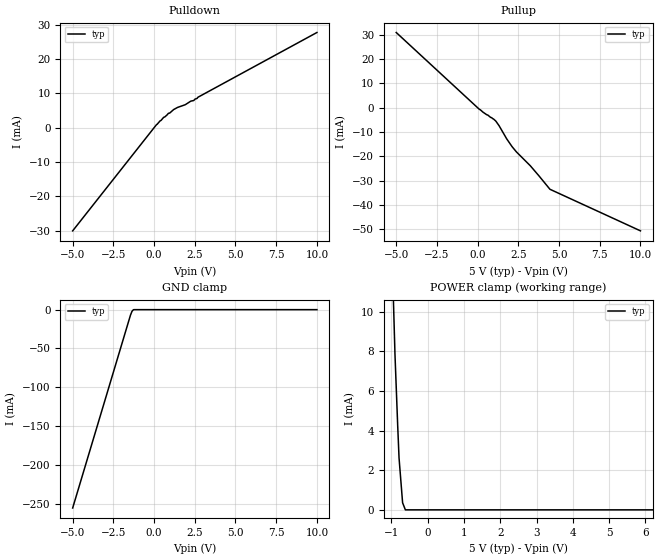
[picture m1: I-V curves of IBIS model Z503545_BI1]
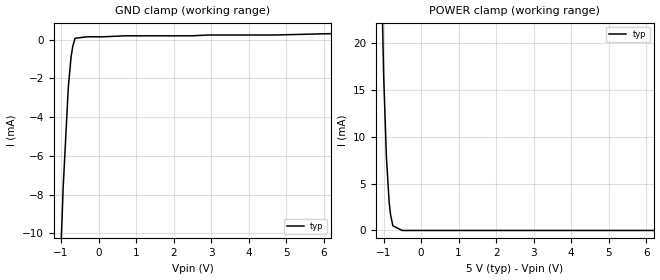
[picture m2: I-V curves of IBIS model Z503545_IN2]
| YOU ARE ONLY AUTHORIZED TO USE THIS SOFTWARE
| ACCORDING TO LICENSOR'S LICENSE RESTRICTIONS.
[IBIS Ver] 3.1
[File Name] mc14066bp.ibs
[File Rev] 2.0
[Source] Measured and created by ICX Technology
[Date] Friday 7/14/00 9:07:52 AM
[Copyright]
| (C) COPYRIGHT 1993-2000
| MENTOR GRAPHICS CORPORATION
| ICX STANDARD LIBRARY, ICX PROJECT MODELING,
| ICX CUSTOM MODELING, ICX VENDOR MODEL
| ALL RIGHTS RESERVED.
| THE FOLLOWING ARE TRADEMARKS OR SERVICE MARKS OF
| MENTOR GRAPHICS CORPORATION:ICX (R), ICX STANDARD
| LIBRARY(R), ICX PROJECT MODELING(R), ICX CUSTOM
| MODELING(R), qualityIBIS(TM), MODELVIEWER(TM),
| AND MODELEDITOR(TM)
| ALL COPIES OF SOFTWARE, INCLUDING BUT NOT LIMITED TO
| ANY MODIFICATIONS, ENHANCEMENTS OR DERIVATIVE WORKS,
| MUST CONTAIN ALL MENTOR GRAPHICS CORPORATION'S
| NOTICES AND LEGENDS, INCLUDING THOSE EMBEDDED IN
| SOFTWARE AND THOSE AFFIXED TO SOFTWARE MEDIUM
| AND CONTAINER, AS RECEIVED FROM MENTOR GRAPHICS
| CORPORATION.
|  ZAP Model Builder 2.7
[Component] MC14066BP
[Manufacturer] OnSemiconductor
[Package]
| variable   typ   min   max
R_pkg  .155ohms NA NA
L_pkg  3.028nH NA NA
C_pkg  .381pF NA NA
[Pin] signal_name  model_name  R_pin  L_pin C_pin
1 In1 Z503545_BI1 .16 3.587n .407p
2 Out1 Z503545_BI1 .156 3.147n .387p
3 Out2 Z503545_BI1 .152 2.717n .367p
4 In2 Z503545_BI1 .148 2.297n .347p
5 Control2 Z503545_IN2 .152 2.717n .367p
6 Control3 Z503545_IN2 .156 3.147n .387p
7 VSS POWER .16 3.587n .407p
8 In3 Z503545_BI1 .16 3.587n .407p
9 Out3 Z503545_BI1 .156 3.147n .387p
10 Out4 Z503545_BI1 .152 2.717n .367p
11 In4 Z503545_BI1 .148 2.297n .347p
12 Control4 Z503545_IN2 .152 2.717n .367p
13 Control1 Z503545_IN2 .156 3.147n .387p
14 VDD POWER .16 3.587n .407p
| Models and submodels in the file (2): Z503545_BI1 (I/O), Z503545_IN2 (Input)
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| (C) COPYRIGHT 1993-2000
| MENTOR GRAPHICS CORPORATION
| ICX STANDARD LIBRARY, ICX PROJECT MODELING,
| ICX CUSTOM MODELING, ICX VENDOR MODEL
| ALL RIGHTS RESERVED.
| THE FOLLOWING ARE TRADEMARKS OR SERVICE MARKS OF
| MENTOR GRAPHICS CORPORATION:ICX (R), ICX STANDARD
| LIBRARY(R), ICX PROJECT MODELING(R), ICX CUSTOM
| MODELING(R), qualityIBIS(TM), MODELVIEWER(TM),
| AND MODELEDITOR(TM)
| ALL COPIES OF SOFTWARE, INCLUDING BUT NOT LIMITED TO
| ANY MODIFICATIONS, ENHANCEMENTS OR DERIVATIVE WORKS,
| MUST CONTAIN ALL MENTOR GRAPHICS CORPORATION'S
| NOTICES AND LEGENDS, INCLUDING THOSE EMBEDDED IN
| SOFTWARE AND THOSE AFFIXED TO SOFTWARE MEDIUM
| AND CONTAINER, AS RECEIVED FROM MENTOR GRAPHICS
| CORPORATION.
| Model Application Version 1.89 2/18/99.
[Model] Z503545_BI1
Model_type I/O
Vinl=1.500V
Vinh=3.500V
Vref=0.000V
Rref=500.0Mohms
Cref=50.00pF
Vmeas=2.500V
C_comp 8.000pF NA NA
| variable typ   min   max
[Voltage Range] 5.000V NA NA
[POWER Clamp Reference] 5.000V NA NA
[Pullup Reference] 5.000V NA NA
[Pulldown Reference] 0.000V NA NA
[GND Clamp Reference] 0.000V NA NA
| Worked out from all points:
|   slope of the pulldown table from 0 to 0.75 V, typ, clamps not added: 213 ohm
|   slope of the pullup table from 0 to 0.75 V, typ, clamps not added: 202 ohm
|   GND clamp passes 1 mA (typ) near -1.31 V on its own axis
|   POWER clamp passes 1 mA (typ) near -0.72 V on its own axis
[GND Clamp]
-5V       -255.5mA   NA         NA
-1.45V    -7.108mA   NA         NA
-1.357V   -2.176mA   NA         NA
-1.279V   -299.2uA   NA         NA
-1.24V    -2.339uA   NA         NA
-1.151V   0A         NA         NA
10V       0A         NA         NA
[Pulldown]
-5V       -30.02mA   NA         NA
150.7mV   896.3uA    NA         NA
879.3mV   4.178mA    NA         NA
1.44V     5.895mA    NA         NA
1.914V    6.686mA    NA         NA
2.256V    7.729mA    NA         NA
2.435V    7.906mA    NA         NA
2.693V    8.858mA    NA         NA
10V       27.7mA     NA         NA
[Pullup]
-5V       30.91mA    NA         NA
107mV     -695.4uA   NA         NA
1.118V    -5.536mA   NA         NA
1.318V    -7.447mA   NA         NA
1.787V    -12.86mA   NA         NA
2.119V    -16.08mA   NA         NA
2.382V    -18.2mA    NA         NA
3.232V    -23.88mA   NA         NA
4.438V    -33.56mA   NA         NA
10V       -50.67mA   NA         NA
[POWER Clamp]
-5V       330.1mA    NA         NA
-1.177V   27.12mA    NA         NA
-1.011V   15.03mA    NA         NA
-898mV    7.836mA    NA         NA
-822mV    4.192mA    NA         NA
-786mV    2.619mA    NA         NA
-688mV    356.4uA    NA         NA
-611.6mV  0A         NA         NA
10V       0A         NA         NA
[Ramp]
| variable typ min max
dV/dt_r 2.213/17.13n NA NA
dV/dt_f 2.213/25.69n NA NA
R_load = 500.0Ohms
| (C) COPYRIGHT 1993-2000
| MENTOR GRAPHICS CORPORATION
| ICX STANDARD LIBRARY, ICX PROJECT MODELING,
| ICX CUSTOM MODELING, ICX VENDOR MODEL
| ALL RIGHTS RESERVED.
| THE FOLLOWING ARE TRADEMARKS OR SERVICE MARKS OF
| MENTOR GRAPHICS CORPORATION:ICX (R), ICX STANDARD
| LIBRARY(R), ICX PROJECT MODELING(R), ICX CUSTOM
| MODELING(R), qualityIBIS(TM), MODELVIEWER(TM),
| AND MODELEDITOR(TM)
| ALL COPIES OF SOFTWARE, INCLUDING BUT NOT LIMITED TO
| ANY MODIFICATIONS, ENHANCEMENTS OR DERIVATIVE WORKS,
| MUST CONTAIN ALL MENTOR GRAPHICS CORPORATION'S
| NOTICES AND LEGENDS, INCLUDING THOSE EMBEDDED IN
| SOFTWARE AND THOSE AFFIXED TO SOFTWARE MEDIUM
| AND CONTAINER, AS RECEIVED FROM MENTOR GRAPHICS
| CORPORATION.
| Model Application Version 1.89 2/18/99.
[Model] Z503545_IN2
Model_type Input
Vinl = 1.500V
Vinh = 3.500V
C_comp 4.000pF NA NA
| variable typ   min   max
[Voltage Range] 5.000V NA NA
[GND Clamp Reference] 0.000V NA NA
[POWER Clamp Reference] 5.000V NA NA
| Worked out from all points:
|   GND clamp passes 1 mA (typ) near -0.74 V on its own axis
|   POWER clamp passes 1 mA (typ) near -0.78 V on its own axis
[GND Clamp]
-5V       -458mA     NA         NA
-1.054V   -13.54mA   NA         NA
-942.1mV  -7.592mA   NA         NA
-805.7mV  -2.457mA   NA         NA
-731.8mV  -876.6uA   NA         NA
-687.1mV  -354.7uA   NA         NA
-627.3mV  65.3uA     NA         NA
-313.7mV  144.7uA    NA         NA
704mV     194.7uA    NA         NA
4.674V    236.7uA    NA         NA
10V       483.3uA    NA         NA
[POWER Clamp]
-5V       1.567A     NA         NA
-1.421V   137.1mA    NA         NA
-1.187V   59.65mA    NA         NA
-1.093V   35.18mA    NA         NA
-996mV    16.38mA    NA         NA
-922mV    7.705mA    NA         NA
-849mV    2.935mA    NA         NA
-811mV    1.636mA    NA         NA
-750mV    491.5uA    NA         NA
-500mV    0A         NA         NA
10V       0A         NA         NA
